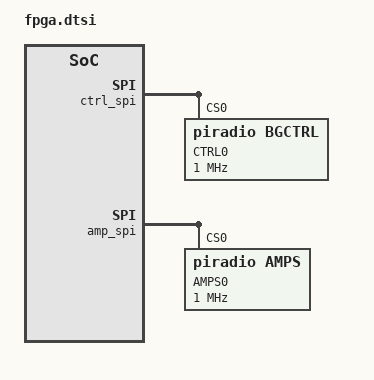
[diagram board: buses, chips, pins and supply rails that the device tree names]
&pl_gpio {
	 gpio-line-names = 
	   "PWR_ENABLE", "PROGRAMN", "JTAGEN", "AMPCH0",
	   "AMPCH1", "AMPCH2", "AMPCH3", "AMPCH4",
	   "AMPCH5", "AMPCH6", "AMPCH7", "AMPCS0",
	   "AMPCS1", "AMPCS2", "PWREN0", "PWREN1",
	   "PWREN2", "PWREN3", "PWREN4", "PWREN5",
	   "PWREN6", "PWREN7", "R3", "P9",
	   "R12", "R6", "", "",
	   "", "", "", "",

	   "INITN", "DONE", "P8", "R4",
	   "P7", "T3", "", "",
	   "", "", "", "",
	   "", "", "", "",
	   "", "", "", "",
	   "", "", "", "",
	   "", "", "", "",
	   "", "", "", "";

	 xlnx,dout-default = <0x00000006>;
	 xlnx,all-outputs = <0x00000006>;
	 xlnx,tri-default = <0xFFC00000>;
};

&ctrl_spi {
     CTRL0@0 {
         compatible = "piradio,bgctrl";
	 reg = <0>;
	 spi-max-frequency = <1000000>;
     };
};

&amp_spi {
     AMPS0@0 {
         compatible = "piradio,amps";
	 reg = <0>;
	 spi-max-frequency = <1000000>;
     };
};

&data_capture_samples_in0 {
    sample-direction = "in";
    sample-buffer-no = <0>;
};

&data_capture_samples_in1 {
    sample-direction = "in";
    sample-buffer-no = <1>;
};

&data_capture_samples_in2 {
    sample-direction = "in";
    sample-buffer-no = <2>;
};

&data_capture_samples_in3 {
    sample-direction = "in";
    sample-buffer-no = <3>;
};

&data_capture_samples_in4 {
    sample-direction = "in";
    sample-buffer-no = <4>;
};

&data_capture_samples_in5 {
    sample-direction = "in";
    sample-buffer-no = <5>;
};

&data_capture_samples_in6 {
    sample-direction = "in";
    sample-buffer-no = <6>;
};

&data_capture_samples_in7 {
    sample-direction = "in";
    sample-buffer-no = <7>;
};

&data_capture_samples_out0 {
    sample-direction = "out";
    sample-buffer-no = <0>;
};

&data_capture_samples_out1 {
    sample-direction = "out";
    sample-buffer-no = <1>;
};

&data_capture_samples_out2 {
    sample-direction = "out";
    sample-buffer-no = <2>;
};

&data_capture_samples_out3 {
    sample-direction = "out";
    sample-buffer-no = <3>;
};

&data_capture_samples_out4 {
    sample-direction = "out";
    sample-buffer-no = <4>;
};

&data_capture_samples_out5 {
    sample-direction = "out";
    sample-buffer-no = <5>;
};

&data_capture_samples_out6 {
    sample-direction = "out";
    sample-buffer-no = <6>;
};

&data_capture_samples_out7 {
    sample-direction = "out";
    sample-buffer-no = <7>;
};

/ {
  fragment {
     target-path = "/";
     overlay_piradio: __overlay__ {
       piradio-image = "piradio-Betelgeuse-NRT";

       piradio_nrt {
	   compatible = "piradio,NRT";
	   status="okay";
       };

       piradio_Raman {
	   compatible = "piradio,Betelgeuse";
	   status="okay";
       };
     };
  };
};
